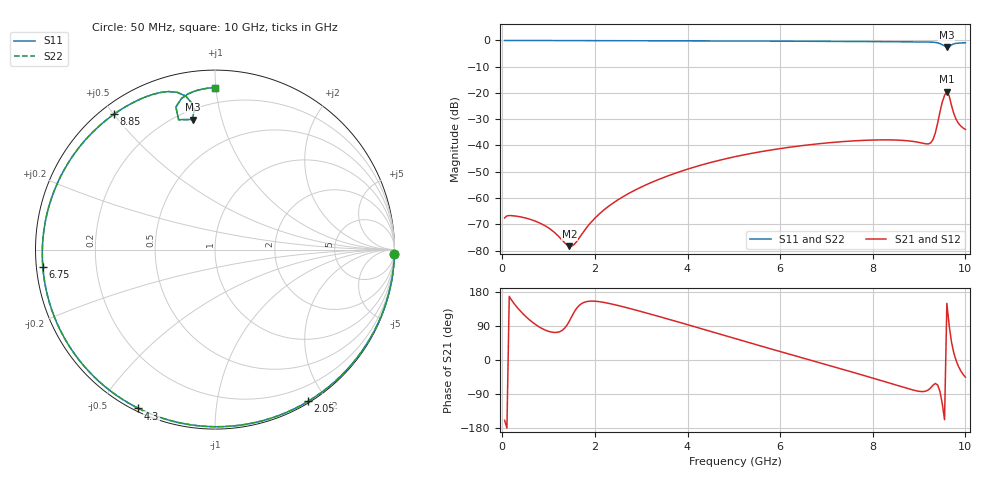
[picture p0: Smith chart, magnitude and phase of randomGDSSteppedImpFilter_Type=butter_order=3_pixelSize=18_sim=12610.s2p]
! freq	dB(S11)	phase(S11)	dB(S12)	phase(S12)
!  dB(S21)	phase(S21)	dB(S22)	phase(S22)
!S-par simulation data
#  GHz  S  DB  R 50
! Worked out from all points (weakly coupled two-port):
!   200 points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, 50 MHz to 10 GHz, reference 50 ohm
!   highest |S21| = -19.56 dB at 9.6 GHz (marker M1); lowest = -78.3 dB at 1.45 GHz (marker M2)
!   lowest |S11| = -2.7 dB at 9.6 GHz (marker M3), VSWR 6.56, Z = 12.8 + j40.5 ohm
!   |S11| at or under -10 dB: nowhere
!   |S22| runs from -2.7 to 0.0 dB; largest |S21 - S12| = 0
!   S11 on the Smith chart (normalised r, x): 50 MHz: 0, -78; 2.05 GHz: 0.02, -1.79; 4.3 GHz: 0.01, -0.63; 6.75 GHz: 0.02, -0.05; 8.85 GHz: 0.04, +0.50; 10 GHz: 0.10, +1.00
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0.05  -0.00 -1.5  -67.58 -159.2  -67.58 -159.2  -0.00 -1.5
0.25  -0.00 -7.4  -66.79 149.7  -66.79 149.7  -0.00 -7.4
0.75  -0.02 -22.0  -69.07 90.9  -69.07 90.9  -0.02 -22.0
1.45  -0.05 -41.9  -78.34 103.1  -78.34 103.1  -0.05 -41.9
1.75  -0.06 -50.3  -72.96 151.2  -72.96 151.2  -0.06 -50.3
2.05  -0.07 -58.5  -66.80 154.6  -66.80 154.6  -0.07 -58.5
2.6  -0.09 -73.2  -59.58 140.7  -59.58 140.7  -0.09 -73.2
3.4  -0.12 -93.7  -52.77 114.3  -52.77 114.3  -0.12 -93.7
4.3  -0.16 -115.7  -47.43 82.6  -47.43 82.6  -0.16 -115.7
5.05  -0.20 -133.5  -44.17 55.8  -44.17 55.8  -0.20 -133.5
6.7  -0.31 -172.9  -39.59 -2.0  -39.59 -2.0  -0.31 -172.9
6.75  -0.32 -174.1  -39.49 -3.8  -39.49 -3.8  -0.32 -174.1
7.6  -0.39 164.0  -38.23 -33.4  -38.23 -33.4  -0.39 164.0
8.35  -0.47 142.7  -37.87 -60.5  -37.87 -60.5  -0.47 142.7
8.85  -0.53 126.7  -38.40 -78.6  -38.40 -78.6  -0.53 126.7
9.2  -0.60 113.5  -39.40 -78.9  -39.40 -78.9  -0.60 113.5
9.3  -0.67 109.0  -37.76 -66.5  -37.76 -66.5  -0.67 109.0
9.5  -1.63 99.1  -23.48 -114.7  -23.48 -114.7  -1.63 99.1
9.6  -2.67 99.8  -19.56 149.4  -19.56 149.4  -2.67 99.7
9.7  -1.68 105.3  -24.73 47.2  -24.73 47.2  -1.69 105.4
9.8  -1.10 99.7  -30.05 -1.7  -30.05 -1.7  -1.10 99.7
10  -0.89 89.9  -33.88 -45.3  -33.88 -45.3  -0.89 89.9
